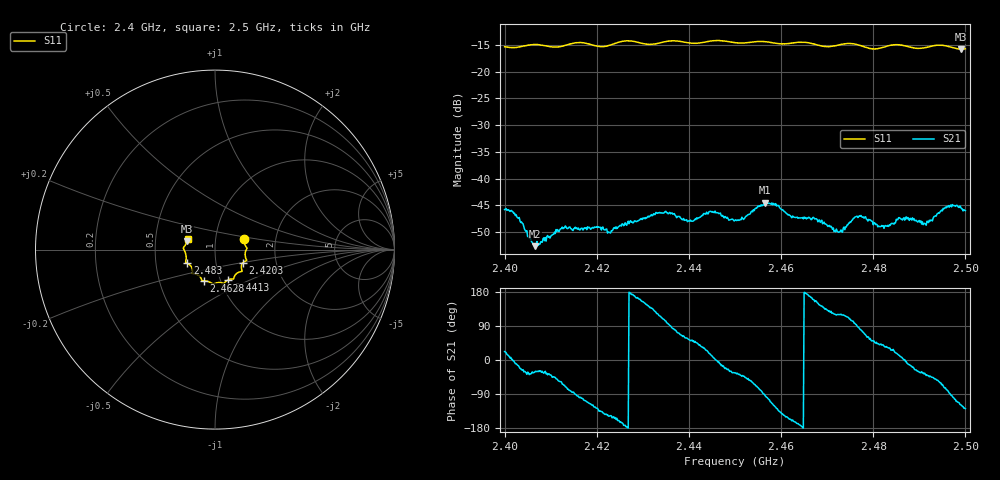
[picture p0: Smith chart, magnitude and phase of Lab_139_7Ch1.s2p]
# Hz S RI R 50
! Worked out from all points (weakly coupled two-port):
!   601 points, 2.4 GHz to 2.5 GHz, reference 50 ohm
!   highest |S21| = -44.48 dB at 2.4565 GHz (marker M1); lowest = -52.6 dB at 2.4067 GHz (marker M2)
!   lowest |S11| = -15.8 dB at 2.499 GHz (marker M3), VSWR 1.39, Z = 36.4 + j3.39 ohm
!   |S11| at or under -10 dB: start of sweep to end of sweep
!   S12 and S22 are empty: the file has one direction only
!   S11 on the Smith chart (normalised r, x): 2.4 GHz: 1.37, +0.16; 2.4203 GHz: 1.35, -0.21; 2.4413 GHz: 1.09, -0.38; 2.4628 GHz: 0.83, -0.30; 2.483 GHz: 0.72, -0.11; 2.5 GHz: 0.73, +0.09
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2.4e9  0.1607 0.0573  0.00477 0.00195  0 0  0 0
2.402667e9  0.1659 0.0287  0.00431 -0.000893  0 0  0 0
2.406667e9  0.1785 0.00828  0.00203 -0.00117  0 0  0 0
2.412833e9  0.1693 -0.0409  0.00139 -0.0032  0 0  0 0
2.416667e9  0.1761 -0.0613  -0.000643 -0.00339  0 0  0 0
2.420333e9  0.1553 -0.074  -0.00233 -0.00269  0 0  0 0
2.422833e9  0.1468 -0.0974  -0.00264 -0.00169  0 0  0 0
2.433333e9  0.1081 -0.1486  -0.00246 0.00415  0 0  0 0
2.441333e9  0.0744 -0.1678  0.00276 0.00317  0 0  0 0
2.444833e9  0.0529 -0.1858  0.00481 0.00108  0 0  0 0
2.45e9  0.0293 -0.1839  0.0034 -0.00229  0 0  0 0
2.4565e9  -0.0141 -0.1897  -0.000369 -0.00596  0 0  0 0
2.462833e9  -0.0631 -0.1746  -0.00417 -0.00132  0 0  0 0
2.466667e9  -0.0742 -0.1675  -0.00402 0.00111  0 0  0 0
2.472e9  -0.1107 -0.1354  -0.00162 0.00298  0 0  0 0
2.476833e9  -0.1245 -0.1257  0.000293 0.00443  0 0  0 0
2.483e9  -0.1548 -0.0766  0.00299 0.00201  0 0  0 0
2.483333e9  -0.1569 -0.0757  0.00305 0.00187  0 0  0 0
2.491e9  -0.1655 -0.017  0.00306 -0.00228  0 0  0 0
2.495833e9  -0.1728 0.0152  0.00116 -0.00522  0 0  0 0
2.499e9  -0.1555 0.0453  -0.00254 -0.00475  0 0  0 0
2.5e9  -0.1524 0.0586  -0.00313 -0.00394  0 0  0 0
